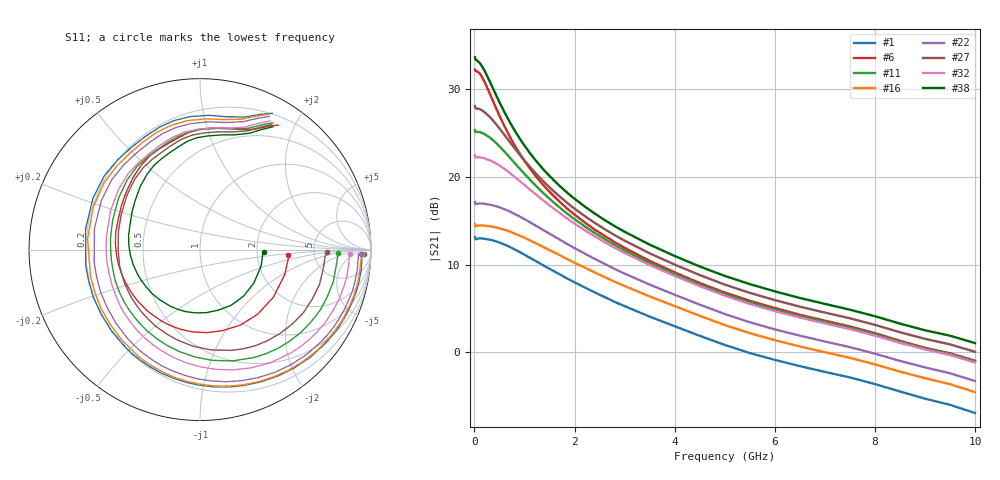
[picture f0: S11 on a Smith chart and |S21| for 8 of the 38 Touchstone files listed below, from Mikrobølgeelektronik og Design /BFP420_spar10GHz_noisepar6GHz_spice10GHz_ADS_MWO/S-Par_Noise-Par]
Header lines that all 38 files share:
! Infineon Technologies  Discrete & RF Semiconductors
! BFP420
! Common Emitter S-Parameters:  Nov 2009
# GHz  S  MA  R  50
!  f  S11  S21  S12  S22
! GHz  MAG  ANG  MAG  ANG  MAG  ANG  MAG  ANG
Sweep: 10 MHz to 10 GHz
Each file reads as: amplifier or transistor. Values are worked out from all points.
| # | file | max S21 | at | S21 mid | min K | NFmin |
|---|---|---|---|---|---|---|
| 1 | 2p0V51M2.s2p | 13.1 dB | 10 MHz | 8.9 dB at 1.7 GHz | 0.01 | 0.53 dB |
| 2 | 2p0V52M0.s2p | 16.9 dB | 10 MHz | 11.3 dB at 1.7 GHz | 0.01 | 0.53 dB |
| 3 | 2p1V01M0.s2p | 11.6 dB | 10 MHz | 8.4 dB at 1.7 GHz | -0.16 | 0.53 dB |
| 4 | 2p1V03M0.s2p | 20.1 dB | 10 MHz | 13.7 dB at 1.7 GHz | 0.02 | 0.57 dB |
| 5 | 2p1V012M.s2p | 29.7 dB | 10 MHz | 16.8 dB at 1.7 GHz | 0.12 | 0.95 dB |
| 6 | 2p1V020M.s2p | 32.2 dB | 10 MHz | 17.2 dB at 1.7 GHz | 0.19 | 1.23 dB |
| 7 | 2p1V52M0.s2p | 17.0 dB | 10 MHz | 12.3 dB at 1.7 GHz | -0.08 | 0.53 dB |
| 8 | 2p1V520M.s2p | 32.3 dB | 10 MHz | 17.8 dB at 1.7 GHz | 0.18 | 1.23 dB |
| 9 | 2p2V02M5.s2p | 18.7 dB | 10 MHz | 13.6 dB at 1.7 GHz | -0.38 | 0.55 dB |
| 10 | 2p2V03M0.s2p | 20.2 dB | 10 MHz | 14.4 dB at 1.7 GHz | -0.14 | 0.57 dB |
| 11 | 2p2V06M0.s2p | 25.3 dB | 10 MHz | 16.5 dB at 1.7 GHz | 0.06 | 0.70 dB |
| 12 | 2p2V09M0.s2p | 28.0 dB | 10 MHz | 17.3 dB at 1.7 GHz | 0.08 | - |
| 13 | 2p2V020M.s2p | 32.4 dB | 10 MHz | 18.1 dB at 1.7 GHz | 0.18 | 1.23 dB |
| 14 | 2p2V50M5.s2p | 5.7 dB | 10 MHz | 3.9 dB at 1.7 GHz | -0.08 | 0.68 dB |
| 15 | 2p2V51M2.s2p | 13.2 dB | 10 MHz | 10.0 dB at 1.7 GHz | -0.01 | 0.53 dB |
| 16 | 2p2V51M5.s2p | 14.6 dB | 10 MHz | 11.1 dB at 1.7 GHz | -0.12 | 0.52 dB |
| 17 | 2p2V52M5.s2p | 18.7 dB | 10 MHz | 13.7 dB at 1.7 GHz | 0.03 | 0.55 dB |
| 18 | 2p2V53M0.s2p | 20.2 dB | 10 MHz | 14.5 dB at 1.7 GHz | 0.03 | 0.57 dB |
| 19 | 2p2V55M0.s2p | 24.0 dB | 10 MHz | 16.2 dB at 1.7 GHz | 0.06 | 0.66 dB |
| 20 | 2p2V59M0.s2p | 28.1 dB | 10 MHz | 17.5 dB at 1.7 GHz | 0.09 | - |
| 21 | 2p2V515M.s2p | 31.0 dB | 10 MHz | 18.2 dB at 1.7 GHz | 0.15 | 1.06 dB |
| 22 | 2p3V02M0.s2p | 17.1 dB | 10 MHz | 12.9 dB at 1.7 GHz | 0.02 | 0.53 dB |
| 23 | 2p3V08M0.s2p | 27.3 dB | 10 MHz | 17.5 dB at 1.7 GHz | 0.11 | 0.79 dB |
| 24 | 2p3V09M0.s2p | 28.1 dB | 10 MHz | 17.7 dB at 1.7 GHz | 0.11 | - |
| 25 | 2p3V020M.s2p | 32.4 dB | 10 MHz | 18.5 dB at 1.7 GHz | 0.20 | 1.23 dB |
| 26 | 2p3V51M5.s2p | 14.9 dB | 10 MHz | 11.4 dB at 1.7 GHz | 0.03 | 0.52 dB |
| 27 | 2p3V59M0.s2p | 28.1 dB | 10 MHz | 17.8 dB at 1.7 GHz | 0.15 | - |
| 28 | 2p3V520M.s2p | 32.4 dB | 10 MHz | 18.7 dB at 1.7 GHz | 0.25 | 1.23 dB |
| 29 | 2p3V525M.s2p | 33.3 dB | 10 MHz | 18.8 dB at 1.7 GHz | 0.26 | 1.38 dB |
| 30 | 2p4V01M0.s2p | 11.5 dB | 10 MHz | 8.9 dB at 1.7 GHz | 0.03 | 0.53 dB |
| 31 | 2p4V02M5.s2p | 18.8 dB | 10 MHz | 14.0 dB at 1.7 GHz | 0.07 | 0.55 dB |
| 32 | 2p4V04M0.s2p | 22.5 dB | 10 MHz | 15.9 dB at 1.7 GHz | 0.11 | 0.61 dB |
| 33 | 2p4V030M.s2p | 33.8 dB | 10 MHz | 18.9 dB at 1.7 GHz | 0.35 | 1.51 dB |
| 34 | 2p4V035M.s2p | 34.3 dB | 10 MHz | 18.9 dB at 1.7 GHz | 0.35 | 1.64 dB |
| 35 | 2p4V51M5.s2p | 14.8 dB | 10 MHz | 11.5 dB at 1.7 GHz | 0.05 | 0.52 dB |
| 36 | 2p4V52M0.s2p | 17.1 dB | 10 MHz | 13.0 dB at 1.7 GHz | 0.07 | 0.53 dB |
| 37 | 2p4V55M0.s2p | 24.2 dB | 10 MHz | 16.7 dB at 1.7 GHz | 0.17 | 0.66 dB |
| 38 | 2p4V530M.s2p | 33.7 dB | 10 MHz | 19.0 dB at 1.7 GHz | 0.44 | 1.51 dB |

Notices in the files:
Bachelor/Oplæsning/Mikrobølgeelektronik og Design /BFP420_spar10GHz_noisepar6GHz_spice10GHz_ADS_MWO/S-Par_Noise-Par/2p0V51M2.s2p:
(c) 2009  Infineon Technologies AG, Munich
